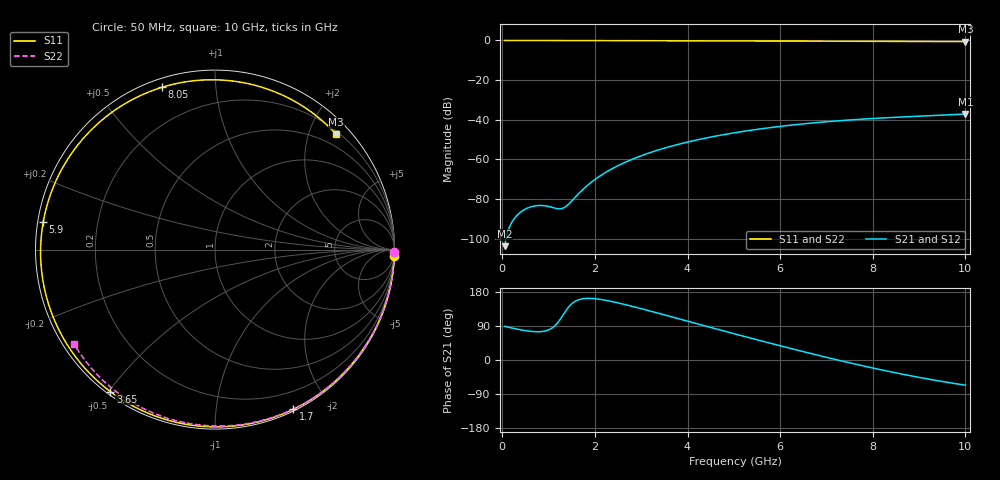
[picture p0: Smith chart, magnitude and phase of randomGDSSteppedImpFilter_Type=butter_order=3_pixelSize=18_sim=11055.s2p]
! freq	dB(S11)	phase(S11)	dB(S12)	phase(S12)
!  dB(S21)	phase(S21)	dB(S22)	phase(S22)
!S-par simulation data
#  GHz  S  DB  R 50
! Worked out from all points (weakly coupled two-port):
!   200 points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, 50 MHz to 10 GHz, reference 50 ohm
!   highest |S21| = -37.12 dB at 10 GHz (marker M1); lowest = -103.8 dB at 50 MHz (marker M2)
!   lowest |S11| = -0.6 dB at 10 GHz (marker M3), VSWR 28.27, Z = 12.8 + j124 ohm
!   |S11| at or under -10 dB: nowhere
!   |S22| runs from -0.5 to 0.0 dB; largest |S21 - S12| = 0
!   S11 on the Smith chart (normalised r, x): 50 MHz: 0, -58; 1.7 GHz: 0.02, -1.60; 3.65 GHz: 0.01, -0.51; 5.9 GHz: 0.02, +0.08; 8.05 GHz: 0.04, +0.72; 10 GHz: 0.26, +2.48
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0.05  -0.00 -2.0  -103.79 88.8  -103.79 88.8  -0.00 -0.9
0.7  -0.03 -27.1  -83.50 74.8  -83.50 74.8  -0.01 -11.8
1.1  -0.05 -42.1  -84.36 86.7  -84.36 86.7  -0.02 -18.5
1.5  -0.07 -56.8  -80.98 148.4  -80.98 148.4  -0.03 -25.2
1.55  -0.07 -58.6  -79.72 153.0  -79.72 153.0  -0.03 -26.0
1.7  -0.08 -63.9  -76.08 160.7  -76.08 160.7  -0.04 -28.5
1.75  -0.08 -65.6  -74.97 161.8  -74.97 161.8  -0.04 -29.3
2.05  -0.09 -76.0  -69.31 161.1  -69.31 161.1  -0.04 -34.2
2.45  -0.11 -89.3  -63.74 152.1  -63.74 152.1  -0.05 -40.6
2.9  -0.12 -103.7  -59.06 138.6  -59.06 138.6  -0.06 -47.8
3.4  -0.14 -119.0  -55.03 122.4  -55.03 122.4  -0.07 -55.6
3.65  -0.15 -126.3  -53.35 114.1  -53.35 114.1  -0.08 -59.4
4.35  -0.18 -146.4  -49.45 90.8  -49.45 90.8  -0.10 -70.0
5.05  -0.22 -165.8  -46.44 67.8  -46.44 67.8  -0.12 -80.2
5.9  -0.27 170.9  -43.63 40.7  -43.63 40.7  -0.16 -92.3
6.7  -0.33 148.4  -41.63 16.0  -41.63 16.0  -0.20 -103.2
7.4  -0.38 128.0  -40.28 -4.6  -40.28 -4.6  -0.25 -112.5
8.05  -0.44 108.1  -39.31 -22.5  -39.31 -22.5  -0.29 -121.0
8.35  -0.46 98.6  -38.93 -30.3  -38.93 -30.3  -0.32 -124.9
9.15  -0.53 72.3  -38.05 -49.3  -38.05 -49.3  -0.40 -135.2
9.55  -0.57 58.8  -37.62 -57.7  -37.62 -57.7  -0.44 -140.3
10  -0.61 43.5  -37.12 -66.4  -37.12 -66.4  -0.49 -146.1
